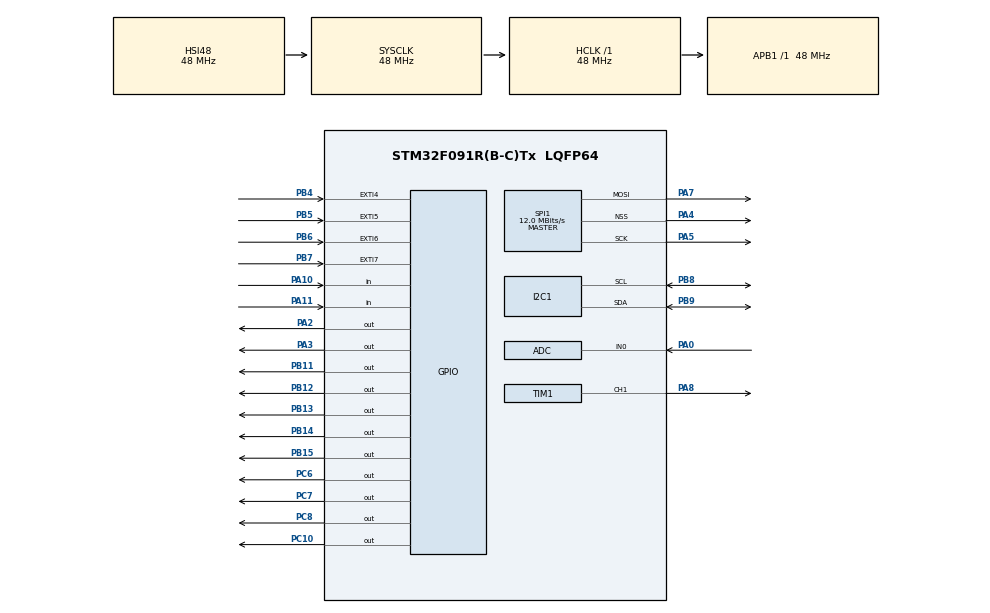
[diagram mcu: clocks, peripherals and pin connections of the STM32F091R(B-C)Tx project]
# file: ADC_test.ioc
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ADC.ContinuousConvMode=ENABLE
ADC.DMAContinuousRequests=ENABLE
ADC.SamplingTime=ADC_SAMPLETIME_239CYCLES_5
Dma.ADC.0.Direction=DMA_PERIPH_TO_MEMORY
Dma.ADC.0.Instance=DMA1_Channel1
Dma.ADC.0.MemDataAlignment=DMA_MDATAALIGN_HALFWORD
Dma.ADC.0.MemInc=DMA_MINC_ENABLE
Dma.ADC.0.Mode=DMA_CIRCULAR
Dma.ADC.0.PeriphDataAlignment=DMA_PDATAALIGN_HALFWORD
Dma.ADC.0.PeriphInc=DMA_PINC_DISABLE
Dma.ADC.0.Priority=DMA_PRIORITY_LOW
Dma.Request0=ADC
Mcu.Family=STM32F0
Mcu.Name=STM32F091R(B-C)Tx
Mcu.Package=LQFP64
NVIC.DMA1_Ch1_IRQn=true\:0\:0\:false\:false\:true\:false\:true
NVIC.EXTI4_15_IRQn=true\:0\:0\:false\:false\:true\:true\:true
PA0.Mode=IN0
PA0.Signal=ADC_IN0
PA10.Signal=GPIO_Input
PA11.Signal=GPIO_Input
PA13.Mode=Serial_Wire
PA13.Signal=SYS_SWDIO
PA14.Mode=Serial_Wire
PA14.Signal=SYS_SWCLK
PA2.Signal=GPIO_Output
PA3.Signal=GPIO_Output
PA4.Mode=NSS_Signal_Hard_Output
PA4.Signal=SPI1_NSS
PA5.Mode=TX_Only_Simplex_Unidirect_Master
PA5.Signal=SPI1_SCK
PA7.Mode=TX_Only_Simplex_Unidirect_Master
PA7.Signal=SPI1_MOSI
PA8.Signal=S_TIM1_CH1
PB11.GPIO_PuPd=GPIO_PULLUP
PB11.Signal=GPIO_Output
PB12.GPIO_PuPd=GPIO_PULLUP
PB12.PinState=GPIO_PIN_SET
PB12.Signal=GPIO_Output
PB13.GPIO_PuPd=GPIO_PULLUP
PB13.PinState=GPIO_PIN_SET
PB13.Signal=GPIO_Output
PB14.Signal=GPIO_Output
PB15.Signal=GPIO_Output
PB4.Signal=GPXTI4
PB5.Signal=GPXTI5
PB6.Signal=GPXTI6
PB7.Signal=GPXTI7
PB8.Mode=I2C
PB8.Signal=I2C1_SCL
PB9.Mode=I2C
PB9.Signal=I2C1_SDA
PC10.Signal=GPIO_Output
PC6.Signal=GPIO_Output
PC7.Signal=GPIO_Output
PC8.Signal=GPIO_Output
ProjectManager.HeapSize=0x200
ProjectManager.StackSize=0x400
ProjectManager.TargetToolchain=STM32CubeIDE
RCC.AHBFreq_Value=48000000
RCC.APB1Freq_Value=48000000
RCC.APB1TimFreq_Value=48000000
RCC.HCLKFreq_Value=48000000
RCC.SYSCLKFreq_VALUE=48000000
RCC.SYSCLKSource=RCC_SYSCLKSOURCE_HSI48
SH.S_TIM1_CH1.0=TIM1_CH1,PWM Generation1 CH1
SPI1.BaudRatePrescaler=SPI_BAUDRATEPRESCALER_4
SPI1.CalculateBaudRate=12.0 MBits/s
SPI1.Direction=SPI_DIRECTION_2LINES
SPI1.Mode=SPI_MODE_MASTER
SPI1.VirtualNSS=VM_NSSHARD
SPI1.VirtualType=VM_MASTER
TIM1.Channel-PWM\ Generation1\ CH1=TIM_CHANNEL_1
board=custom

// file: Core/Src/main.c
/* USER CODE BEGIN Header */
/**
  ******************************************************************************
  * @file           : main.c
  * @brief          : Main program body
  ******************************************************************************
  * @attention
  *
  * Copyright (c) 2022 STMicroelectronics.
  * All rights reserved.
  *
  * This software is licensed under terms that can be found in the LICENSE file
  * in the root directory of this software component.
  * If no LICENSE file comes with this software, it is provided AS-IS.
  *
  ******************************************************************************
  */
/* USER CODE END Header */
#include "main.h"

/* USER CODE BEGIN Includes */
#include "lcd.h"
#include "menu.h"
#include "dsp_v2.h"
/* USER CODE END Includes */

/* USER CODE BEGIN PM */
//#define ADC_BUF_LEN 2048
#define I2C_BUF_LEN 4
#define BATTERY_CAPACITY 5200.0
#define BATTERY_PRESCALE 1
/* USER CODE END PM */

ADC_HandleTypeDef hadc;
DMA_HandleTypeDef hdma_adc;

I2C_HandleTypeDef hi2c1;

SPI_HandleTypeDef hspi1;

TIM_HandleTypeDef htim1;

/* USER CODE BEGIN PV */
//uint16_t adc_buf[BUF_LEN] = {0};
uint8_t batbuf[I2C_BUF_LEN];
//uint16_t temp[ADC_BUF_LEN*8];
int tmp;
uint8_t gotNote;
static const uint8_t I2C_BATTERY_MONITOR_ADDR = 0x64 << 1;

void battery_setPresacle(uint8_t scale);

/* USER CODE END PV */

void SystemClock_Config(void);
static void MX_GPIO_Init(void);
static void MX_DMA_Init(void);
static void MX_ADC_Init(void);
static void MX_SPI1_Init(void);
static void MX_TIM1_Init(void);
static void MX_I2C1_Init(void);
/* USER CODE BEGIN PFP */
void Sample(ADC_HandleTypeDef*, uint32_t*, uint32_t);
void acquireTune();
/* USER CODE END PFP */

int main(void)
{

  /* MCU Configuration--------------------------------------------------------*/

  /* Reset of all peripherals, Initializes the Flash interface and the Systick. */
  HAL_Init();

  /* Configure the system clock */
  SystemClock_Config();

  /* Initialize all configured peripherals */
  MX_GPIO_Init();
  MX_DMA_Init();
  MX_ADC_Init();
  MX_SPI1_Init();
  MX_TIM1_Init();
  MX_I2C1_Init();

  /* Infinite loop */
  /* USER CODE BEGIN WHILE */
  HAL_GPIO_WritePin(GPIOB, GPIO_PIN_11, GPIO_PIN_SET);
  initialize();
  LCD_Init();
  LCD_Clear(BLUE);
  resetSel();
  menu_home();
  /*auto_tune();
  HAL_Delay(1000);
  dspmain();*/
  while(1)
  {
  }
    /* USER CODE END WHILE */

}

void SystemClock_Config(void)
{
  RCC_OscInitTypeDef RCC_OscInitStruct = {0};
  RCC_ClkInitTypeDef RCC_ClkInitStruct = {0};
  RCC_PeriphCLKInitTypeDef PeriphClkInit = {0};

  /** Initializes the RCC Oscillators according to the specified parameters
  * in the RCC_OscInitTypeDef structure.
  */
  RCC_OscInitStruct.OscillatorType = RCC_OSCILLATORTYPE_HSI|RCC_OSCILLATORTYPE_HSI14
                              |RCC_OSCILLATORTYPE_HSI48;
  RCC_OscInitStruct.HSIState = RCC_HSI_ON;
  RCC_OscInitStruct.HSI48State = RCC_HSI48_ON;
  RCC_OscInitStruct.HSI14State = RCC_HSI14_ON;
  RCC_OscInitStruct.HSICalibrationValue = RCC_HSICALIBRATION_DEFAULT;
  RCC_OscInitStruct.HSI14CalibrationValue = 16;
  RCC_OscInitStruct.PLL.PLLState = RCC_PLL_NONE;
  if (HAL_RCC_OscConfig(&RCC_OscInitStruct) != HAL_OK)
  {
    Error_Handler();
  }
  /** Initializes the CPU, AHB and APB buses clocks
  */
  RCC_ClkInitStruct.ClockType = RCC_CLOCKTYPE_HCLK|RCC_CLOCKTYPE_SYSCLK
                              |RCC_CLOCKTYPE_PCLK1;
  RCC_ClkInitStruct.SYSCLKSource = RCC_SYSCLKSOURCE_HSI48;
  RCC_ClkInitStruct.AHBCLKDivider = RCC_SYSCLK_DIV1;
  RCC_ClkInitStruct.APB1CLKDivider = RCC_HCLK_DIV1;

  if (HAL_RCC_ClockConfig(&RCC_ClkInitStruct, FLASH_LATENCY_1) != HAL_OK)
  {
    Error_Handler();
  }
  PeriphClkInit.PeriphClockSelection = RCC_PERIPHCLK_I2C1;
  PeriphClkInit.I2c1ClockSelection = RCC_I2C1CLKSOURCE_HSI;
  if (HAL_RCCEx_PeriphCLKConfig(&PeriphClkInit) != HAL_OK)
  {
    Error_Handler();
  }
}

static void MX_ADC_Init(void)
{

  ADC_ChannelConfTypeDef sConfig = {0};

  /** Configure the global features of the ADC (Clock, Resolution, Data Alignment and number of conversion)
  */
  hadc.Instance = ADC1;
  hadc.Init.ClockPrescaler = ADC_CLOCK_ASYNC_DIV1;
  hadc.Init.Resolution = ADC_RESOLUTION_12B;
  hadc.Init.DataAlign = ADC_DATAALIGN_RIGHT;
  hadc.Init.ScanConvMode = ADC_SCAN_DIRECTION_FORWARD;
  hadc.Init.EOCSelection = ADC_EOC_SINGLE_CONV;
  hadc.Init.LowPowerAutoWait = DISABLE;
  hadc.Init.LowPowerAutoPowerOff = DISABLE;
  hadc.Init.ContinuousConvMode = ENABLE;
  hadc.Init.DiscontinuousConvMode = DISABLE;
  hadc.Init.ExternalTrigConv = ADC_SOFTWARE_START;
  hadc.Init.ExternalTrigConvEdge = ADC_EXTERNALTRIGCONVEDGE_NONE;
  hadc.Init.DMAContinuousRequests = ENABLE;
  hadc.Init.Overrun = ADC_OVR_DATA_PRESERVED;
  if (HAL_ADC_Init(&hadc) != HAL_OK)
  {
    Error_Handler();
  }
  /** Configure for the selected ADC regular channel to be converted.
  */
  sConfig.Channel = ADC_CHANNEL_0;
  sConfig.Rank = ADC_RANK_CHANNEL_NUMBER;
  sConfig.SamplingTime = ADC_SAMPLETIME_239CYCLES_5;
  if (HAL_ADC_ConfigChannel(&hadc, &sConfig) != HAL_OK)
  {
    Error_Handler();
  }

}

static void MX_I2C1_Init(void)
{

  hi2c1.Instance = I2C1;
  hi2c1.Init.Timing = 0x2000090E;
  hi2c1.Init.OwnAddress1 = 0;
  hi2c1.Init.AddressingMode = I2C_ADDRESSINGMODE_7BIT;
  hi2c1.Init.DualAddressMode = I2C_DUALADDRESS_DISABLE;
  hi2c1.Init.OwnAddress2 = 0;
  hi2c1.Init.OwnAddress2Masks = I2C_OA2_NOMASK;
  hi2c1.Init.GeneralCallMode = I2C_GENERALCALL_DISABLE;
  hi2c1.Init.NoStretchMode = I2C_NOSTRETCH_DISABLE;
  if (HAL_I2C_Init(&hi2c1) != HAL_OK)
  {
    Error_Handler();
  }
  /** Configure Analogue filter
  */
  if (HAL_I2CEx_ConfigAnalogFilter(&hi2c1, I2C_ANALOGFILTER_ENABLE) != HAL_OK)
  {
    Error_Handler();
  }
  /** Configure Digital filter
  */
  if (HAL_I2CEx_ConfigDigitalFilter(&hi2c1, 0) != HAL_OK)
  {
    Error_Handler();
  }

}

static void MX_SPI1_Init(void)
{

  /* SPI1 parameter configuration*/
  hspi1.Instance = SPI1;
  hspi1.Init.Mode = SPI_MODE_MASTER;
  hspi1.Init.Direction = SPI_DIRECTION_2LINES;
  hspi1.Init.DataSize = SPI_DATASIZE_4BIT;
  hspi1.Init.CLKPolarity = SPI_POLARITY_LOW;
  hspi1.Init.CLKPhase = SPI_PHASE_1EDGE;
  hspi1.Init.NSS = SPI_NSS_HARD_OUTPUT;
  hspi1.Init.BaudRatePrescaler = SPI_BAUDRATEPRESCALER_4;
  hspi1.Init.FirstBit = SPI_FIRSTBIT_MSB;
  hspi1.Init.TIMode = SPI_TIMODE_DISABLE;
  hspi1.Init.CRCCalculation = SPI_CRCCALCULATION_DISABLE;
  hspi1.Init.CRCPolynomial = 7;
  hspi1.Init.CRCLength = SPI_CRC_LENGTH_DATASIZE;
  hspi1.Init.NSSPMode = SPI_NSS_PULSE_ENABLE;
  if (HAL_SPI_Init(&hspi1) != HAL_OK)
  {
    Error_Handler();
  }
  /* USER CODE BEGIN SPI1_Init 2 */

  RCC->AHBENR |= RCC_AHBENR_GPIOAEN;
  GPIOA -> MODER &= ~GPIO_MODER_MODER4 & ~GPIO_MODER_MODER5 & ~GPIO_MODER_MODER7;
  GPIOA -> MODER |= GPIO_MODER_MODER4_1 | GPIO_MODER_MODER5_1 | GPIO_MODER_MODER7_1;
  GPIOA -> MODER &= ~GPIO_MODER_MODER2 & ~GPIO_MODER_MODER3;
  GPIOA -> MODER |= GPIO_MODER_MODER2_0 | GPIO_MODER_MODER3_0;
  GPIOA->AFR[0] &= ~GPIO_AFRL_AFRL4 & ~GPIO_AFRL_AFRL5 & ~GPIO_AFRL_AFRL7;

  RCC->APB2ENR |= RCC_APB2ENR_SPI1EN;
  SPI1->CR1 |= SPI_CR1_MSTR | SPI_CR1_BIDIMODE | SPI_CR1_BIDIOE;
  SPI1->CR1 &= ~SPI_CR1_BR;
  SPI1->CR2 = SPI_CR2_DS_2 | SPI_CR2_DS_1 | SPI_CR2_DS_0;
  SPI1->CR2 |= SPI_CR2_NSSP | SPI_CR2_SSOE;
  SPI1->CR1 |= SPI_CR1_SPE;

  /* USER CODE END SPI1_Init 2 */

}

static void MX_TIM1_Init(void)
{

  TIM_MasterConfigTypeDef sMasterConfig = {0};
  TIM_OC_InitTypeDef sConfigOC = {0};
  TIM_BreakDeadTimeConfigTypeDef sBreakDeadTimeConfig = {0};

  htim1.Instance = TIM1;
  htim1.Init.Prescaler = 0;
  htim1.Init.CounterMode = TIM_COUNTERMODE_UP;
  htim1.Init.Period = 7500*6;
  htim1.Init.ClockDivision = TIM_CLOCKDIVISION_DIV1;
  htim1.Init.RepetitionCounter = 0;
  htim1.Init.AutoReloadPreload = TIM_AUTORELOAD_PRELOAD_DISABLE;
  if (HAL_TIM_PWM_Init(&htim1) != HAL_OK)
  {
    Error_Handler();
  }
  sMasterConfig.MasterOutputTrigger = TIM_TRGO_RESET;
  sMasterConfig.MasterSlaveMode = TIM_MASTERSLAVEMODE_DISABLE;
  if (HAL_TIMEx_MasterConfigSynchronization(&htim1, &sMasterConfig) != HAL_OK)
  {
    Error_Handler();
  }
  sConfigOC.OCMode = TIM_OCMODE_PWM1;
  sConfigOC.Pulse = 7500/2*6;
  sConfigOC.OCPolarity = TIM_OCPOLARITY_HIGH;
  sConfigOC.OCNPolarity = TIM_OCNPOLARITY_HIGH;
  sConfigOC.OCFastMode = TIM_OCFAST_DISABLE;
  sConfigOC.OCIdleState = TIM_OCIDLESTATE_RESET;
  sConfigOC.OCNIdleState = TIM_OCNIDLESTATE_RESET;
  if (HAL_TIM_PWM_ConfigChannel(&htim1, &sConfigOC, TIM_CHANNEL_1) != HAL_OK)
  {
    Error_Handler();
  }
  sBreakDeadTimeConfig.OffStateRunMode = TIM_OSSR_DISABLE;
  sBreakDeadTimeConfig.OffStateIDLEMode = TIM_OSSI_DISABLE;
  sBreakDeadTimeConfig.LockLevel = TIM_LOCKLEVEL_OFF;
  sBreakDeadTimeConfig.DeadTime = 0;
  sBreakDeadTimeConfig.BreakState = TIM_BREAK_DISABLE;
  sBreakDeadTimeConfig.BreakPolarity = TIM_BREAKPOLARITY_HIGH;
  sBreakDeadTimeConfig.AutomaticOutput = TIM_AUTOMATICOUTPUT_DISABLE;
  if (HAL_TIMEx_ConfigBreakDeadTime(&htim1, &sBreakDeadTimeConfig) != HAL_OK)
  {
    Error_Handler();
  }
  HAL_TIM_MspPostInit(&htim1);

}

static void MX_DMA_Init(void)
{

  /* DMA controller clock enable */
  __HAL_RCC_DMA1_CLK_ENABLE();

  /* DMA interrupt init */
  /* DMA1_Ch1_IRQn interrupt configuration */
  HAL_NVIC_SetPriority(DMA1_Ch1_IRQn, 0, 0);
  HAL_NVIC_EnableIRQ(DMA1_Ch1_IRQn);

}

static void MX_GPIO_Init(void)
{
  GPIO_InitTypeDef GPIO_InitStruct = {0};

  /* GPIO Ports Clock Enable */
  __HAL_RCC_GPIOA_CLK_ENABLE();
  __HAL_RCC_GPIOB_CLK_ENABLE();
  __HAL_RCC_GPIOC_CLK_ENABLE();

  /*Configure GPIO pin Output Level */
  HAL_GPIO_WritePin(GPIOA, GPIO_PIN_2|GPIO_PIN_3, GPIO_PIN_RESET);

  /*Configure GPIO pin Output Level */
  HAL_GPIO_WritePin(GPIOB, GPIO_PIN_11|GPIO_PIN_14|GPIO_PIN_15, GPIO_PIN_RESET);

  /*Configure GPIO pin Output Level */
  HAL_GPIO_WritePin(GPIOB, GPIO_PIN_12|GPIO_PIN_13, GPIO_PIN_SET);

  /*Configure GPIO pin Output Level */
  HAL_GPIO_WritePin(GPIOC, GPIO_PIN_6|GPIO_PIN_7|GPIO_PIN_8|GPIO_PIN_10, GPIO_PIN_RESET);

  /*Configure GPIO pins : PA2 PA3 */
  GPIO_InitStruct.Pin = GPIO_PIN_2|GPIO_PIN_3;
  GPIO_InitStruct.Mode = GPIO_MODE_OUTPUT_PP;
  GPIO_InitStruct.Pull = GPIO_NOPULL;
  GPIO_InitStruct.Speed = GPIO_SPEED_FREQ_LOW;
  HAL_GPIO_Init(GPIOA, &GPIO_InitStruct);

  /*Configure GPIO pins : PB11 PB12 PB13 */
  GPIO_InitStruct.Pin = GPIO_PIN_11|GPIO_PIN_12|GPIO_PIN_13;
  GPIO_InitStruct.Mode = GPIO_MODE_OUTPUT_PP;
  GPIO_InitStruct.Pull = GPIO_PULLUP;
  GPIO_InitStruct.Speed = GPIO_SPEED_FREQ_LOW;
  HAL_GPIO_Init(GPIOB, &GPIO_InitStruct);

  /*Configure GPIO pins : PB14 PB15 */
  GPIO_InitStruct.Pin = GPIO_PIN_14|GPIO_PIN_15;
  GPIO_InitStruct.Mode = GPIO_MODE_OUTPUT_PP;
  GPIO_InitStruct.Pull = GPIO_NOPULL;
  GPIO_InitStruct.Speed = GPIO_SPEED_FREQ_LOW;
  HAL_GPIO_Init(GPIOB, &GPIO_InitStruct);

  /*Configure GPIO pins : PC6 PC7 PC8 PC10 */
  GPIO_InitStruct.Pin = GPIO_PIN_6|GPIO_PIN_7|GPIO_PIN_8|GPIO_PIN_10;
  GPIO_InitStruct.Mode = GPIO_MODE_OUTPUT_PP;
  GPIO_InitStruct.Pull = GPIO_NOPULL;
  GPIO_InitStruct.Speed = GPIO_SPEED_FREQ_LOW;
  HAL_GPIO_Init(GPIOC, &GPIO_InitStruct);

  /*Configure GPIO pins : PA10 PA11 */
  GPIO_InitStruct.Pin = GPIO_PIN_10|GPIO_PIN_11;
  GPIO_InitStruct.Mode = GPIO_MODE_INPUT;
  GPIO_InitStruct.Pull = GPIO_NOPULL;
  HAL_GPIO_Init(GPIOA, &GPIO_InitStruct);

  /*Configure GPIO pins : PB4 PB5 PB6 PB7 */
  GPIO_InitStruct.Pin = GPIO_PIN_4|GPIO_PIN_5|GPIO_PIN_6|GPIO_PIN_7;
  GPIO_InitStruct.Mode = GPIO_MODE_IT_RISING;
  GPIO_InitStruct.Pull = GPIO_NOPULL;
  HAL_GPIO_Init(GPIOB, &GPIO_InitStruct);

  /* EXTI interrupt init*/
  HAL_NVIC_SetPriority(EXTI4_15_IRQn, 0, 0);
  HAL_NVIC_EnableIRQ(EXTI4_15_IRQn);

}

/* USER CODE BEGIN 4 */
//===========================================================================
// EXTERNAL INTERRUPT CALLBACK
// Used for navigation buttons and trigger
//===========================================================================
void HAL_GPIO_EXTI_Callback(uint16_t GPIO_Pin)
{
	curr = HAL_GetTick();
	UNUSED(GPIO_Pin);
	if((GPIO_Pin == (1<<4)) && (curr - prev > 200)) //Left button
	{
		move_left();//move left
		prev = curr;
	}
	if(((GPIO_Pin == (1<<5)) | (GPIO_Pin == (1<<7))) && (curr - prev > 200)) //select button
		{
			display_select(currentSelectIndex); //select option
			prev = curr;
		}
	if((GPIO_Pin == (1<<6)) && (curr - prev > 200)) // right button
	{
		move_right();//move right
		prev = curr;
	}
}
// Called when first half of buffer is filled
void HAL_ADC_ConvHalfCpltCallback(ADC_HandleTypeDef* hadc) {
  __NOP();
}

// Called when buffer is completely filled
void HAL_ADC_ConvCpltCallback(ADC_HandleTypeDef* hadc) {
//	gotNote = 1;
//	HAL_ADC_Stop_DMA(hadc);
	//LCD_Drawnum(3, 0, 0, , num2)

	HAL_ADC_Stop_DMA(hadc);

//	for(int i = 0; i < ADC_BUF_LEN; i++){
//			adc_buf[i] = buffer.raw[i*8];
//	}

	LCD_DrawString(60 ,80,  YELLOW, BLUE,"Finished samples", 16, 0);
	//dspmain();
	dspmain2();
	//LCD_DrawString(60 ,160,  YELLOW, BLUE,"Finished DSP", 16, 0);

}
void battery() {

	battery_setPresacle(5);

	LCD_DrawString(60,100,YELLOW, BLUE, "I2C:", 16, 0);
	//HAL_I2C_Master_Transmit(&hi2c1, I2C_BATTERY_MONITOR_ADDR, pData, Size, Timeout);
	HAL_StatusTypeDef ret;
	batbuf[0] = 0;
	ret = HAL_I2C_Master_Transmit(&hi2c1, I2C_BATTERY_MONITOR_ADDR, batbuf, 1, HAL_MAX_DELAY);
	if ( ret != HAL_OK ) {
		LCD_DrawString(140,100,YELLOW, BLUE, "ERROR", 16, 0);
	} else {
		LCD_DrawString(140,100,YELLOW, BLUE, "ACK", 16, 0);
		LCD_DrawString(60,120,YELLOW, BLUE, "Status", 16, 0);

		ret = HAL_I2C_Master_Receive(&hi2c1, I2C_BATTERY_MONITOR_ADDR, batbuf, 1, HAL_MAX_DELAY);
		if ( ret != HAL_OK ) {
			LCD_DrawString(140,120,YELLOW, BLUE, "ERROR", 16, 0);
		} else {
			char text[20];
			sprintf(text, "0x%x", batbuf[0]);

			LCD_DrawString(140,120,YELLOW, BLUE, text, 16, 0);
		}
	}

	batbuf[0] = 2;
	LCD_DrawString(60,140,YELLOW, BLUE, "Chrg Reg:", 16, 0);
	ret = HAL_I2C_Master_Transmit(&hi2c1, I2C_BATTERY_MONITOR_ADDR, batbuf, 1, HAL_MAX_DELAY);
	if ( ret != HAL_OK ) {
		LCD_DrawString(140,140,YELLOW, BLUE, "ERROR", 16, 0);
	} else {
		LCD_DrawString(140,140,YELLOW, BLUE, "ACK", 16, 0);

		LCD_DrawString(60,160,YELLOW, BLUE, "Amount:", 16, 0);
		ret = HAL_I2C_Master_Receive(&hi2c1, I2C_BATTERY_MONITOR_ADDR, batbuf, 4, HAL_MAX_DELAY);
		if ( ret != HAL_OK ) {
			LCD_DrawString(140,160,YELLOW, BLUE, "ERROR", 16, 0);
		} else {
			char text[40];
			sprintf(text, "0x%02x%02x %02x%02x", batbuf[0],batbuf[1],batbuf[2],batbuf[3]);

			LCD_DrawString(140,160,YELLOW, BLUE, text, 16, 0);

			float chargeAmount = 0.085 * (batbuf[3] + batbuf[2] * 256);
			sprintf(text, "Capacity: %d mAh   %d %%", (uint32_t)chargeAmount, (uint32_t) (chargeAmount/5200.0*100));

			LCD_DrawString(25 ,50,  YELLOW, BLUE, text, 16, 0);

		}
	}

	//HAL_I2C_Master_Receive_IT(&hi2c1, 100, batbuf, I2C_BUF_LEN);
	//HAL_I2C_Master_Receive(&hi2c1, DevAddress, pData, Size, Timeout), DevAddress, pData, Size, Timeout)

	//nano_wait(100000);
}

void battery_display()
{
	HAL_StatusTypeDef ret;
	batbuf[0] = 2;
	ret = HAL_I2C_Master_Transmit(&hi2c1, I2C_BATTERY_MONITOR_ADDR, batbuf, 1, HAL_MAX_DELAY);
	if ( ret != HAL_OK ) {
//		LCD_DrawString(140,140,YELLOW, BLUE, "ERROR", 16, 0);
	} else {
		ret = HAL_I2C_Master_Receive(&hi2c1, I2C_BATTERY_MONITOR_ADDR, batbuf, 4, HAL_MAX_DELAY);
		if ( ret != HAL_OK ) {
//			LCD_DrawString(140,160,YELLOW, BLUE, "ERROR", 16, 0);
		} else {
			char text[40];
			float chargeAmount = 0.085 * BATTERY_PRESCALE * (batbuf[3] + batbuf[2] * 256);
			sprintf(text, "Capacity: %d mAh   %d %%", (uint32_t)chargeAmount, (uint32_t) (chargeAmount/BATTERY_CAPACITY*100));

			LCD_DrawString(25 ,5,  YELLOW, BLUE, text, 16, 0);

		}
	}

}

void battery_setPresacle(uint8_t scale)
{
	HAL_StatusTypeDef ret;
	batbuf[0] = 0x01;
	batbuf[1] = 0x30;
	ret = HAL_I2C_Master_Transmit(&hi2c1, I2C_BATTERY_MONITOR_ADDR, batbuf, 2, HAL_MAX_DELAY);
	if ( ret != HAL_OK ) {
		LCD_DrawString(140,40,YELLOW, BLUE, "ERROR", 16, 0);
	} else {
		//LCD_DrawString(140,100,YELLOW, BLUE, "ACK", 16, 0);
		//LCD_DrawString(60,120,YELLOW, BLUE, "Status", 16, 0);
		batbuf[0] = 0x30;

		//ret = HAL_I2C_Master_Transmit(&hi2c1, I2C_BATTERY_MONITOR_ADDR, batbuf, 1, HAL_MAX_DELAY);
		if ( ret != HAL_OK ) {
				LCD_DrawString(140,40,YELLOW, BLUE, "ERROR", 16, 0);
		} //else {LCD_DrawString(140,40,YELLOW, BLUE, "DONE", 16, 0);}
	}

	return;
}
/*void HAL_I2C_MasterRxCpltCallback (I2C_HandleTypeDef * hi2c)
{
	//for(int i = 0; i < 4; i++)
		//LCD_Draw4digit(i, 0, i, batbuf);
	char fma[15];
	gcvt(*batbuf, 6, fma);
	LCD_DrawString(60,120,YELLOW, BLUE, "BATTERY", 16, 0);
	LCD_DrawString(60,140,YELLOW, BLUE, fma, 16, 0);
}*/
void LCD_Draw4digit(int idx, int side, int row, uint16_t *buff)
{
	tmp =0;
	int renew = 0;
	int fact = 1;
	LCD_DrawString(60 ,80,  YELLOW, BLUE,"Finished samples", 16, 0);
	for(int i = 0; i < 4; i++)
	{
		fact = 1;
		for(int j = i ; j < 3; j++)
		  {
			  fact = fact * 10;
		  }
		tmp = (buff[idx]- renew)/fact ;

		LCD_DrawChar(60 +i*10 + side * 100,100 + row*20,YELLOW, BLUE,tmp+48, 16, 0);
		renew +=  tmp * fact;
	  }

}

void LCD_Drawpin(uint8_t pin)
{
	tmp =0;
	int renew = 0;
	int fact = 1;
	LCD_DrawString(60 ,80,  YELLOW, BLUE,"Finished samples", 16, 0);
	for(int i = 0; i < 4; i++)
	{
		fact = 1;
		for(int j = i ; j < 3; j++)
		  {
			  fact = fact * 10;
		  }
		tmp = (pin- renew)/fact ;

		LCD_DrawChar(60 +i*10 + 100,100 + 20,YELLOW, BLUE,tmp+48, 16, 0);
		renew +=  tmp * fact;
	  }

}
void auto_tune()
{
	LCD_Clear(BLUE);
	for (int i = 0; i < 2; i++) {
		LCD_DrawString(65*i + 25,SELECT_HEIGHT,  YELLOW, BLUE, (currDisplay->selection)[i], 16, 0);
	}
	LCD_DrawString(60 ,40,  YELLOW, BLUE,pegsel[currentPeg], 16, 0);
	LCD_DrawString(60 ,60,  YELLOW, BLUE,"Play open", 16, 0);
	LCD_DrawString(140 ,60,  YELLOW, BLUE, note[currentPeg], 16, 0);
	LCD_DrawString(65*2 + 25,SELECT_HEIGHT,  YELLOW, BLUE, (currDisplay->selection)[2], 16, 0);
	LCD_DrawString(80 ,80,  YELLOW, BLUE,"Take samples", 16, 0);
	acquireTune();

	//dspmain();
	//dspmain2();

	//dspmain();
}

void acquireTune()
{
	//gotNote = 0;
	//uint16_t temp[ADC_BUF_LEN*8]= {0};
	HAL_ADC_Start_DMA(&hadc, buffer.raw, SAMPLE_LEN);
//	while(gotNote == 0) nano_wait(100);
//
//	for(int i = 0; i < ADC_BUF_LEN; i++){
//		adc_buf[i] = temp[i*8];
//	}
//
//	LCD_DrawString(60 ,80,  YELLOW, BLUE,"Finished samples", 16, 0);

}

void startmotor()
{
	HAL_TIM_PWM_Start(&htim1, TIM_CHANNEL_1);
}
void stopmotor()
{
	HAL_TIM_PWM_Stop(&htim1, TIM_CHANNEL_1);
	HAL_GPIO_WritePin(GPIOB, GPIO_PIN_11, GPIO_PIN_SET);
}

/* USER CODE END 4 */

void Error_Handler(void)
{
  __disable_irq();
  while (1)
  {
  }
}
